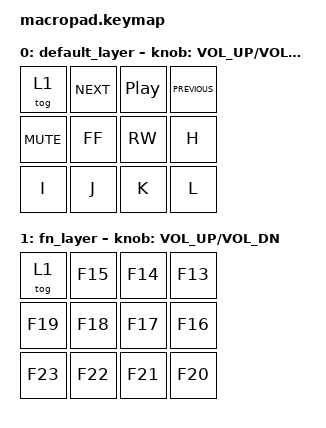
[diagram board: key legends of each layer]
#include <behaviors.dtsi>
#include <dt-bindings/zmk/keys.h>
#include <dt-bindings/zmk/bt.h>
#include <dt-bindings/zmk/outputs.h>

/ {
    keymap {
        compatible = "zmk,keymap";

        default_layer {
            bindings = <
                &tog 1      &kp C_NEXT  &kp C_PLAY_PAUSE  &kp C_PREVIOUS
                &kp C_MUTE  &kp C_FF    &kp C_RW          &kp H
                &kp I       &kp J       &kp K             &kp L
            >;
            sensor-bindings = <&inc_dec_kp C_VOL_UP C_VOL_DN>;
        };
        
        fn_layer {
            bindings = <
                &tog 1   &kp F15  &kp F14  &kp F13
                &kp F19  &kp F18  &kp F17  &kp F16
                &kp F23  &kp F22  &kp F21  &kp F20    
            >;      
            sensor-bindings = <&inc_dec_kp C_VOL_UP C_VOL_DN>;   
        };
    };
};
